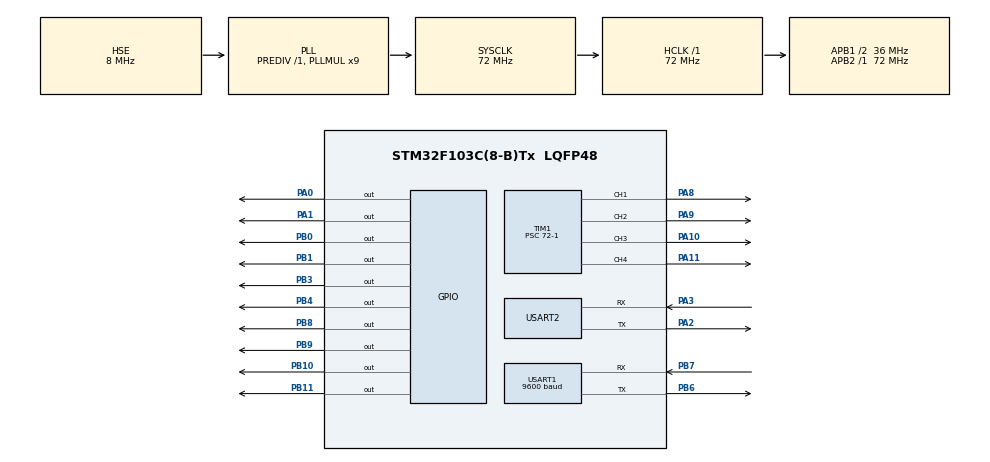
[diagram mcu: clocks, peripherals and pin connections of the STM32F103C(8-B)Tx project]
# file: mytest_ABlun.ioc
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Dma.Request0=USART2_RX
Dma.Request1=USART1_RX
Dma.USART1_RX.1.Direction=DMA_PERIPH_TO_MEMORY
Dma.USART1_RX.1.Instance=DMA1_Channel5
Dma.USART1_RX.1.MemDataAlignment=DMA_MDATAALIGN_BYTE
Dma.USART1_RX.1.MemInc=DMA_MINC_ENABLE
Dma.USART1_RX.1.Mode=DMA_NORMAL
Dma.USART1_RX.1.PeriphDataAlignment=DMA_PDATAALIGN_BYTE
Dma.USART1_RX.1.PeriphInc=DMA_PINC_DISABLE
Dma.USART1_RX.1.Priority=DMA_PRIORITY_LOW
Dma.USART2_RX.0.Direction=DMA_PERIPH_TO_MEMORY
Dma.USART2_RX.0.Instance=DMA1_Channel6
Dma.USART2_RX.0.MemDataAlignment=DMA_MDATAALIGN_BYTE
Dma.USART2_RX.0.MemInc=DMA_MINC_ENABLE
Dma.USART2_RX.0.Mode=DMA_NORMAL
Dma.USART2_RX.0.PeriphDataAlignment=DMA_PDATAALIGN_BYTE
Dma.USART2_RX.0.PeriphInc=DMA_PINC_DISABLE
Dma.USART2_RX.0.Priority=DMA_PRIORITY_LOW
Mcu.Family=STM32F1
Mcu.Name=STM32F103C(8-B)Tx
Mcu.Package=LQFP48
NVIC.DMA1_Channel5_IRQn=true\:0\:0\:false\:false\:true\:false\:true\:true
NVIC.DMA1_Channel6_IRQn=true\:0\:0\:false\:false\:true\:false\:true\:true
NVIC.PriorityGroup=NVIC_PRIORITYGROUP_4
NVIC.USART1_IRQn=true\:0\:0\:false\:false\:true\:true\:true\:true
NVIC.USART2_IRQn=true\:0\:0\:false\:false\:true\:true\:true\:true
PA0-WKUP.Signal=GPIO_Output
PA1.Signal=GPIO_Output
PA10.Signal=S_TIM1_CH3
PA11.Signal=S_TIM1_CH4
PA13.Mode=Serial_Wire
PA13.Signal=SYS_JTMS-SWDIO
PA14.Mode=Serial_Wire
PA14.Signal=SYS_JTCK-SWCLK
PA2.Mode=Asynchronous
PA2.Signal=USART2_TX
PA3.Mode=Asynchronous
PA3.Signal=USART2_RX
PA8.Signal=S_TIM1_CH1
PA9.Signal=S_TIM1_CH2
PB0.GPIO_PuPd=GPIO_PULLUP
PB0.Signal=GPIO_Output
PB1.GPIO_PuPd=GPIO_PULLUP
PB1.Signal=GPIO_Output
PB10.GPIO_PuPd=GPIO_PULLUP
PB10.Signal=GPIO_Output
PB11.GPIO_PuPd=GPIO_PULLUP
PB11.Signal=GPIO_Output
PB3.Signal=GPIO_Output
PB4.Signal=GPIO_Output
PB6.Mode=Asynchronous
PB6.Signal=USART1_TX
PB7.Mode=Asynchronous
PB7.Signal=USART1_RX
PB8.Signal=GPIO_Output
PB9.Signal=GPIO_Output
PD0-OSC_IN.Mode=HSE-External-Oscillator
PD0-OSC_IN.Signal=RCC_OSC_IN
PD1-OSC_OUT.Mode=HSE-External-Oscillator
PD1-OSC_OUT.Signal=RCC_OSC_OUT
ProjectManager.HeapSize=0x200
ProjectManager.StackSize=0x400
ProjectManager.TargetToolchain=MDK-ARM V5.32
RCC.AHBFreq_Value=72000000
RCC.APB1CLKDivider=RCC_HCLK_DIV2
RCC.APB1Freq_Value=36000000
RCC.APB1TimFreq_Value=72000000
RCC.APB2Freq_Value=72000000
RCC.APB2TimFreq_Value=72000000
RCC.HCLKFreq_Value=72000000
RCC.PLLMUL=RCC_PLL_MUL9
RCC.PLLSourceVirtual=RCC_PLLSOURCE_HSE
RCC.SYSCLKFreq_VALUE=72000000
RCC.SYSCLKSource=RCC_SYSCLKSOURCE_PLLCLK
RCC.USBFreq_Value=72000000
SH.S_TIM1_CH1.0=TIM1_CH1,PWM Generation1 CH1
SH.S_TIM1_CH2.0=TIM1_CH2,PWM Generation2 CH2
SH.S_TIM1_CH3.0=TIM1_CH3,PWM Generation3 CH3
SH.S_TIM1_CH4.0=TIM1_CH4,PWM Generation4 CH4
TIM1.AutoReloadPreload=TIM_AUTORELOAD_PRELOAD_ENABLE
TIM1.Channel-PWM\ Generation1\ CH1=TIM_CHANNEL_1
TIM1.Channel-PWM\ Generation2\ CH2=TIM_CHANNEL_2
TIM1.Channel-PWM\ Generation3\ CH3=TIM_CHANNEL_3
TIM1.Channel-PWM\ Generation4\ CH4=TIM_CHANNEL_4
TIM1.Prescaler=72-1
TIM1.RepetitionCounter=0
USART1.BaudRate=9600
USART1.VirtualMode=VM_ASYNC
USART2.VirtualMode=VM_ASYNC
VP_TIM1_VS_ClockSourceINT.Mode=Internal
board=custom

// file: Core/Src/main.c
/* USER CODE BEGIN Header */
/**
  ******************************************************************************
  * @file           : main.c
  * @brief          : Main program body
  ******************************************************************************
  * @attention
  *
  * Copyright (c) 2025 STMicroelectronics.
  * All rights reserved.
  *
  * This software is licensed under terms that can be found in the LICENSE file
  * in the root directory of this software component.
  * If no LICENSE file comes with this software, it is provided AS-IS.
  *
  ******************************************************************************
  */
/* USER CODE END Header */
#include "main.h"
#include "dma.h"
#include "tim.h"
#include "usart.h"
#include "gpio.h"

/* USER CODE BEGIN Includes */
#include "bsp_system.h"
#include "../../hardware/config.h"
#include "../../hardware/pid_motor.h"
#include "../../hardware/encoder.h"
#include "../../hardware/pid_test.h"
/* USER CODE END Includes */

void SystemClock_Config(void);

int main(void)
{

  /* MCU Configuration--------------------------------------------------------*/

  /* Reset of all peripherals, Initializes the Flash interface and the Systick. */
  HAL_Init();

  /* Configure the system clock */
  SystemClock_Config();

  /* Initialize all configured peripherals */
  MX_GPIO_Init();
  MX_DMA_Init();
  MX_TIM1_Init();
  MX_USART2_UART_Init();
  MX_USART1_UART_Init();
  /* USER CODE BEGIN 2 */
  // 基础模块初始化
  scheduler_init();
  Motor_Init();
  uart_init();
  gps_init();

  // PID控制系统初始化
  Encoder_Init();              // 编码器初始化(必须在PID前)
  FourWheel_PID_Init();        // 四轮PID控制器初始化
  Robot_Enable_PID(1);         // 启用PID控制
  PID_Test_Init();             // PID测试模块初始化

  #ifdef DEBUG
  DEBUG_PRINTF("系统初始化完成 - %s", COPYRIGHT_INFO);
  DEBUG_PRINTF("PID配置: Kp=%.2f, Ki=%.3f, Kd=%.2f", PID_KP_DEFAULT, PID_KI_DEFAULT, PID_KD_DEFAULT);
  #endif
  /* USER CODE END 2 */

  /* Infinite loop */
  while (1)
  {

    /* USER CODE BEGIN 3 */
    scheduler_run();
  }
  /* USER CODE END 3 */
}

void SystemClock_Config(void)
{
  RCC_OscInitTypeDef RCC_OscInitStruct = {0};
  RCC_ClkInitTypeDef RCC_ClkInitStruct = {0};

  /** Initializes the RCC Oscillators according to the specified parameters
  * in the RCC_OscInitTypeDef structure.
  */
  RCC_OscInitStruct.OscillatorType = RCC_OSCILLATORTYPE_HSE;
  RCC_OscInitStruct.HSEState = RCC_HSE_ON;
  RCC_OscInitStruct.HSEPredivValue = RCC_HSE_PREDIV_DIV1;
  RCC_OscInitStruct.HSIState = RCC_HSI_ON;
  RCC_OscInitStruct.PLL.PLLState = RCC_PLL_ON;
  RCC_OscInitStruct.PLL.PLLSource = RCC_PLLSOURCE_HSE;
  RCC_OscInitStruct.PLL.PLLMUL = RCC_PLL_MUL9;
  if (HAL_RCC_OscConfig(&RCC_OscInitStruct) != HAL_OK)
  {
    Error_Handler();
  }

  /** Initializes the CPU, AHB and APB buses clocks
  */
  RCC_ClkInitStruct.ClockType = RCC_CLOCKTYPE_HCLK|RCC_CLOCKTYPE_SYSCLK
                              |RCC_CLOCKTYPE_PCLK1|RCC_CLOCKTYPE_PCLK2;
  RCC_ClkInitStruct.SYSCLKSource = RCC_SYSCLKSOURCE_PLLCLK;
  RCC_ClkInitStruct.AHBCLKDivider = RCC_SYSCLK_DIV1;
  RCC_ClkInitStruct.APB1CLKDivider = RCC_HCLK_DIV2;
  RCC_ClkInitStruct.APB2CLKDivider = RCC_HCLK_DIV1;

  if (HAL_RCC_ClockConfig(&RCC_ClkInitStruct, FLASH_LATENCY_2) != HAL_OK)
  {
    Error_Handler();
  }
}

void Error_Handler(void)
{
  __disable_irq();
  while (1)
  {
  }
}
